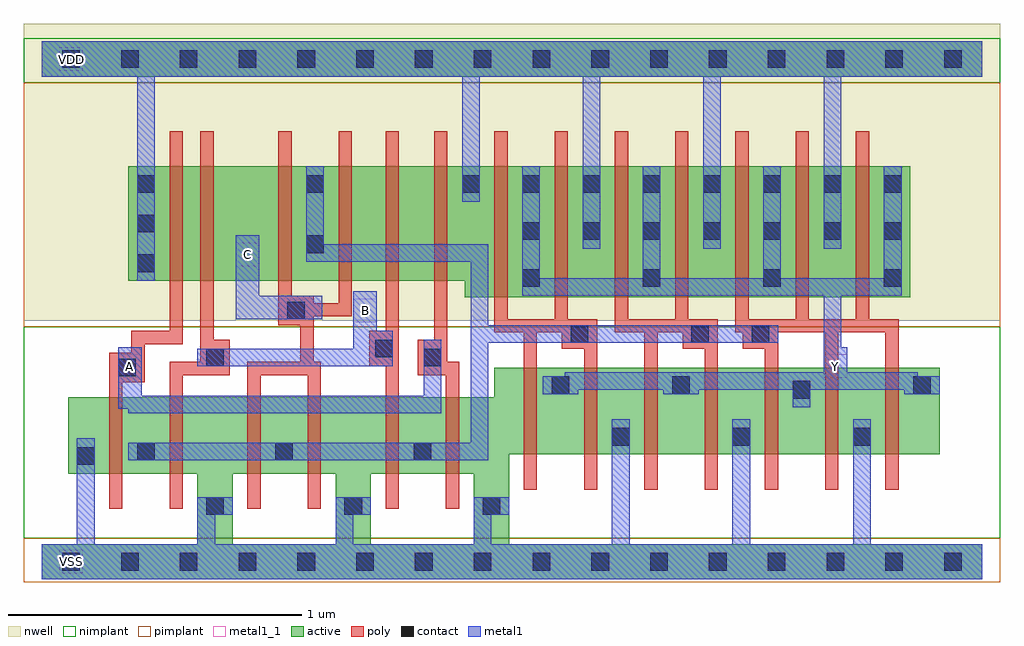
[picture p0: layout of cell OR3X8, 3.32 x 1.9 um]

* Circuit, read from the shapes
.subckt OR3X8 A B C VDD VSS Y
M1 n1 A VSS VSS nfet w=0.26u l=0.045u m=2
M2 VSS B n1 VSS nfet w=0.26u l=0.045u m=2
M3 n1 C VSS VSS nfet w=0.26u l=0.045u m=2
M4 Y n1 VSS VSS nfet w=0.295u l=0.045u m=7
M5 n2 A VDD VDD pfet w=0.39u l=0.045u
M6 n3 B n2 VDD pfet w=0.39u l=0.045u
M7 n1 C n3 VDD pfet w=0.39u l=0.045u
M8 n4 C n1 VDD pfet w=0.39u l=0.045u
M9 n5 B n4 VDD pfet w=0.39u l=0.045u
M10 VDD A n5 VDD pfet w=0.39u l=0.045u
M11 Y n1 VDD VDD pfet w=0.445u l=0.045u m=7
.ends

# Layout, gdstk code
import gdstk
lib = gdstk.Library(unit=1e-6, precision=5e-10)
def R(c, l, rs):  # rectangles x0, y0, x1, y1
    for r in rs: c.add(gdstk.rectangle(r[:2], r[2:], *l))
def A(c, l, x, y, w, h, nx, ny, dx, dy):  # array of equal rectangles
    R(c, l, [(x+i*dx, y+j*dy, x+i*dx+w, y+j*dy+h) for i in range(nx) for j in range(ny)])
def P(c, l, *ps):  # polygons
    for p in ps: c.add(gdstk.Polygon(p, *l))
active = (1, 0)
nwell = (2, 0)
poly = (3, 0)
nimplant = (4, 0)
pimplant = (5, 0)
contact = (6, 0)
metal1 = (7, 0)
metal1_1 = (7, 1)

or3x8 = lib.new_cell('OR3X8')
R(or3x8, active, [(0,1.65,3.2,1.77)])
P(or3x8, active, [(0.295,1.345),(2.955,1.345),(2.955,0.9),(1.44,0.9),(1.44,0.955),(0.295,0.955)],
  [(1.54,0.66),(3.055,0.66),(3.055,0.365),(1.59,0.365),(1.59,0.06),(3.2,0.06),(3.2,-0.06),(0,-0.06),(0,0.06),(0.53,0.06),(0.53,0.3),(0.65,0.3),(0.65,0.06),(1,0.06),(1,0.3),(1.12,0.3),(1.12,0.06),(1.47,0.06),(1.47,0.3),(0.09,0.3),(0.09,0.56),(1.54,0.56)])
R(or3x8, nwell, [(-0.06,0.82,3.26,1.83)])
P(or3x8, poly, [(0.435,1.465),(0.48,1.465),(0.48,0.74),(0.35,0.74),(0.35,0.61),(0.275,0.61),(0.275,0.18),(0.23,0.18),(0.23,0.71),(0.305,0.71),(0.305,0.785),(0.435,0.785)],
  [(0.54,1.465),(0.585,1.465),(0.585,0.755),(0.64,0.755),(0.64,0.635),(0.48,0.635),(0.48,0.18),(0.435,0.18),(0.435,0.68),(0.54,0.68)],
  [(0.805,1.465),(0.85,1.465),(0.85,0.905),(0.925,0.905),(0.925,0.88),(1.01,0.88),(1.01,1.465),(1.055,1.465),(1.055,0.835),(0.925,0.835),(0.925,0.68),(0.95,0.68),(0.95,0.18),(0.905,0.18),(0.905,0.635),(0.745,0.635),(0.745,0.18),(0.7,0.18),(0.7,0.68),(0.88,0.68),(0.88,0.805),(0.805,0.805)],
  [(1.17,1.465),(1.215,1.465),(1.215,0.18),(1.17,0.18),(1.17,0.665),(1.115,0.665),(1.115,0.785),(1.17,0.785)],
  [(1.335,1.465),(1.38,1.465),(1.38,0.68),(1.42,0.68),(1.42,0.18),(1.375,0.18),(1.375,0.635),(1.28,0.635),(1.28,0.755),(1.335,0.755)],
  [(1.54,1.465),(1.585,1.465),(1.585,0.825),(1.745,0.825),(1.745,1.465),(1.79,1.465),(1.79,0.825),(1.89,0.825),(1.89,0.245),(1.845,0.245),(1.845,0.725),(1.77,0.725),(1.77,0.78),(1.685,0.78),(1.685,0.245),(1.64,0.245),(1.64,0.78),(1.54,0.78)],
  [(1.95,1.465),(1.995,1.465),(1.995,0.825),(2.155,0.825),(2.155,1.465),(2.2,1.465),(2.2,0.825),(2.3,0.825),(2.3,0.245),(2.255,0.245),(2.255,0.725),(2.18,0.725),(2.18,0.78),(2.095,0.78),(2.095,0.245),(2.05,0.245),(2.05,0.78),(1.95,0.78)],
  [(2.36,1.465),(2.405,1.465),(2.405,0.825),(2.565,0.825),(2.565,1.465),(2.61,1.465),(2.61,0.825),(2.77,0.825),(2.77,1.465),(2.815,1.465),(2.815,0.825),(2.915,0.825),(2.915,0.245),(2.87,0.245),(2.87,0.78),(2.71,0.78),(2.71,0.245),(2.665,0.245),(2.665,0.78),(2.505,0.78),(2.505,0.245),(2.46,0.245),(2.46,0.725),(2.385,0.725),(2.385,0.78),(2.36,0.78)])
R(or3x8, nimplant, [(-0.06,0.08,3.26,0.8), (-0.06,1.63,3.26,1.78)])
R(or3x8, pimplant, [(-0.06,-0.07,3.26,0.08), (-0.06,0.8,3.26,1.63)])
A(or3x8, contact, 0.07, -0.03, 0.06, 0.06, 16, 2, 0.2, 1.71)
A(or3x8, contact, 0.56, 0.16, 0.06, 0.06, 3, 1, 0.47, 0)
A(or3x8, contact, 0.325, 0.345, 0.06, 0.06, 3, 1, 0.47, 0)
A(or3x8, contact, 1.94, 0.395, 0.06, 0.06, 3, 1, 0.41, 0)
A(or3x8, contact, 1.635, 0.935, 0.06, 0.06, 4, 1, 0.41, 0)
A(or3x8, contact, 0.325, 0.985, 0.06, 0.06, 1, 3, 0, 0.135)
A(or3x8, contact, 1.635, 1.095, 0.06, 0.06, 7, 1, 0.205, 0)
A(or3x8, contact, 1.43, 1.255, 0.06, 0.06, 8, 1, 0.205, 0)
R(or3x8, contact, [(0.12,0.33,0.18,0.39), (2.555,0.555,2.615,0.615), (1.735,0.57,1.795,0.63), (2.145,0.57,2.205,0.63), (2.965,0.57,3.025,0.63), (0.26,0.63,0.32,0.69), (0.56,0.665,0.62,0.725), (1.3,0.665,1.36,0.725), (1.135,0.695,1.195,0.755), (1.8,0.745,1.86,0.805), (2.21,0.745,2.27,0.805), (2.415,0.745,2.475,0.805), (0.835,0.825,0.895,0.885), (0.9,1.05,0.96,1.11), (0.9,1.255,0.96,1.315)])
P(or3x8, metal1, [(0,1.77),(3.2,1.77),(3.2,1.65),(2.72,1.65),(2.72,1.065),(2.66,1.065),(2.66,1.65),(2.31,1.65),(2.31,1.065),(2.25,1.065),(2.25,1.65),(1.9,1.65),(1.9,1.065),(1.84,1.065),(1.84,1.65),(1.49,1.65),(1.49,1.225),(1.43,1.225),(1.43,1.65),(0.385,1.65),(0.385,0.955),(0.325,0.955),(0.325,1.65),(0,1.65)],
  [(0.9,1.345),(0.96,1.345),(0.96,1.08),(1.52,1.08),(1.52,0.805),(2.505,0.805),(2.505,0.745),(1.52,0.745),(1.52,0.345),(0.295,0.345),(0.295,0.405),(1.46,0.405),(1.46,1.02),(0.9,1.02)],
  [(0.66,1.11),(0.74,1.11),(0.74,0.905),(0.955,0.905),(0.955,0.825),(0.66,0.825)],
  [(1.635,1.345),(1.695,1.345),(1.695,0.965),(2.045,0.965),(2.045,1.345),(2.105,1.345),(2.105,0.965),(2.455,0.965),(2.455,1.345),(2.515,1.345),(2.515,0.965),(2.865,0.965),(2.865,1.345),(2.925,1.345),(2.925,0.905),(2.72,0.905),(2.72,0.73),(2.74,0.73),(2.74,0.645),(2.98,0.645),(2.98,0.63),(3.055,0.63),(3.055,0.57),(2.935,0.57),(2.935,0.585),(2.615,0.585),(2.615,0.525),(2.555,0.525),(2.555,0.585),(2.235,0.585),(2.235,0.57),(2.115,0.57),(2.115,0.585),(1.825,0.585),(1.825,0.57),(1.705,0.57),(1.705,0.63),(1.78,0.63),(1.78,0.645),(2.66,0.645),(2.66,0.905),(1.635,0.905)],
  [(1.06,0.92),(1.14,0.92),(1.14,0.785),(1.195,0.785),(1.195,0.665),(0.53,0.665),(0.53,0.725),(1.06,0.725)],
  [(0.26,0.73),(0.34,0.73),(0.34,0.565),(1.3,0.565),(1.3,0.755),(1.36,0.755),(1.36,0.505),(0.295,0.505),(0.295,0.52),(0.26,0.52)],
  [(0.12,0.42),(0.18,0.42),(0.18,0.06),(0.53,0.06),(0.53,0.22),(0.65,0.22),(0.65,0.16),(0.59,0.16),(0.59,0.06),(1,0.06),(1,0.22),(1.12,0.22),(1.12,0.16),(1.06,0.16),(1.06,0.06),(1.47,0.06),(1.47,0.22),(1.59,0.22),(1.59,0.16),(1.53,0.16),(1.53,0.06),(1.94,0.06),(1.94,0.485),(2,0.485),(2,0.06),(2.35,0.06),(2.35,0.485),(2.41,0.485),(2.41,0.06),(2.76,0.06),(2.76,0.485),(2.82,0.485),(2.82,0.06),(3.2,0.06),(3.2,-0.06),(0,-0.06),(0,0.06),(0.12,0.06)])
R(or3x8, metal1_1, [(0.06,-0.04,0.14,0.04), (0.26,0.625,0.34,0.705), (2.66,0.625,2.74,0.705), (1.06,0.815,1.14,0.895), (0.66,1.005,0.74,1.085), (0.06,1.67,0.14,1.75)])
or3x8.add(gdstk.Label('Y', (2.7,0.665), layer=7, texttype=1))
or3x8.add(gdstk.Label('C', (0.7,1.045), layer=7, texttype=1))
or3x8.add(gdstk.Label('B', (1.1,0.855), layer=7, texttype=1))
or3x8.add(gdstk.Label('A', (0.3,0.665), layer=7, texttype=1))
or3x8.add(gdstk.Label('VDD', (0.1,1.71), layer=7, texttype=1))
or3x8.add(gdstk.Label('VSS', (0.1,0), layer=7, texttype=1))
or3x8.add(gdstk.Label('OR3X8', (0,0), layer=63, texttype=0))

lib.write_gds('OR3X8.gds')
